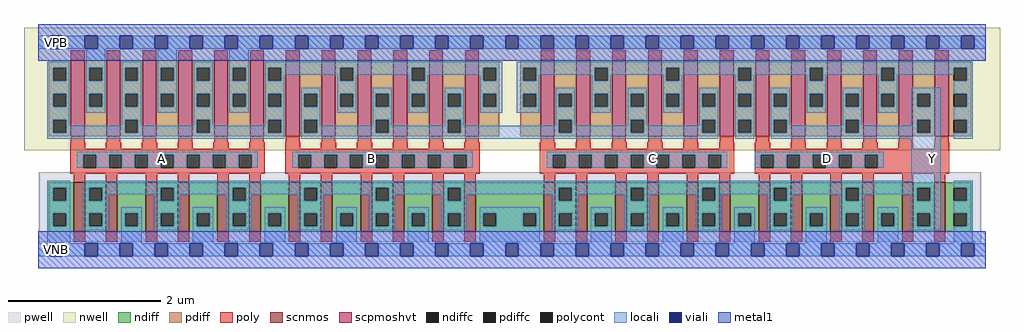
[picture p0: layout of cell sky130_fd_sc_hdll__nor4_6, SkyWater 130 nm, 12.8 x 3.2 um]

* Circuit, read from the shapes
.subckt sky130_fd_sc_hdll__nor4_6 A B C D VGND VNB VPB VPWR Y
XM1 Y A VGND VNB sky130_fd_pr__nfet_01v8 w=0.65 l=0.15 m=6
XM2 Y B VGND VNB sky130_fd_pr__nfet_01v8 w=0.65 l=0.15 m=6
XM3 Y C VGND VNB sky130_fd_pr__nfet_01v8 w=0.65 l=0.15 m=6
XM4 Y D VGND VNB sky130_fd_pr__nfet_01v8 w=0.65 l=0.15 m=6
XM5 VPWR A n1 VPB sky130_fd_pr__pfet_01v8_hvt w=1 l=0.18 m=6
XM6 n2 B n1 VPB sky130_fd_pr__pfet_01v8_hvt w=1 l=0.18 m=6
XM7 n2 C n3 VPB sky130_fd_pr__pfet_01v8_hvt w=1 l=0.18 m=6
XM8 Y D n3 VPB sky130_fd_pr__pfet_01v8_hvt w=1 l=0.18 m=6
.ends

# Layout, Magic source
magic
tech sky130A
magscale 1 2
<< nwell >>
rect -38 261 2522 582
<< pwell >>
rect 1 21 2473 203
rect 30 -17 64 21
<< scnmos >>
rect 93 47 123 177
rect 177 47 207 177
rect 281 47 311 177
rect 365 47 395 177
rect 469 47 499 177
rect 553 47 583 177
rect 657 47 687 177
rect 741 47 771 177
rect 845 47 875 177
rect 929 47 959 177
rect 1033 47 1063 177
rect 1117 47 1147 177
rect 1325 47 1355 177
rect 1409 47 1439 177
rect 1513 47 1543 177
rect 1597 47 1627 177
rect 1701 47 1731 177
rect 1785 47 1815 177
rect 1889 47 1919 177
rect 1973 47 2003 177
rect 2077 47 2107 177
rect 2161 47 2191 177
rect 2265 47 2295 177
rect 2349 47 2379 177
<< scpmoshvt >>
rect 85 297 121 497
rect 179 297 215 497
rect 273 297 309 497
rect 367 297 403 497
rect 461 297 497 497
rect 555 297 591 497
rect 649 297 685 497
rect 743 297 779 497
rect 837 297 873 497
rect 931 297 967 497
rect 1025 297 1061 497
rect 1119 297 1155 497
rect 1317 297 1353 497
rect 1411 297 1447 497
rect 1505 297 1541 497
rect 1599 297 1635 497
rect 1693 297 1729 497
rect 1787 297 1823 497
rect 1881 297 1917 497
rect 1975 297 2011 497
rect 2069 297 2105 497
rect 2163 297 2199 497
rect 2257 297 2293 497
rect 2351 297 2387 497
<< ndiff >>
rect 27 163 93 177
rect 27 129 39 163
rect 73 129 93 163
rect 27 95 93 129
rect 27 61 39 95
rect 73 61 93 95
rect 27 47 93 61
rect 123 163 177 177
rect 123 129 133 163
rect 167 129 177 163
rect 123 95 177 129
rect 123 61 133 95
rect 167 61 177 95
rect 123 47 177 61
rect 207 95 281 177
rect 207 61 227 95
rect 261 61 281 95
rect 207 47 281 61
rect 311 163 365 177
rect 311 129 321 163
rect 355 129 365 163
rect 311 95 365 129
rect 311 61 321 95
rect 355 61 365 95
rect 311 47 365 61
rect 395 95 469 177
rect 395 61 415 95
rect 449 61 469 95
rect 395 47 469 61
rect 499 163 553 177
rect 499 129 509 163
rect 543 129 553 163
rect 499 95 553 129
rect 499 61 509 95
rect 543 61 553 95
rect 499 47 553 61
rect 583 95 657 177
rect 583 61 603 95
rect 637 61 657 95
rect 583 47 657 61
rect 687 163 741 177
rect 687 129 697 163
rect 731 129 741 163
rect 687 95 741 129
rect 687 61 697 95
rect 731 61 741 95
rect 687 47 741 61
rect 771 95 845 177
rect 771 61 791 95
rect 825 61 845 95
rect 771 47 845 61
rect 875 163 929 177
rect 875 129 885 163
rect 919 129 929 163
rect 875 95 929 129
rect 875 61 885 95
rect 919 61 929 95
rect 875 47 929 61
rect 959 95 1033 177
rect 959 61 979 95
rect 1013 61 1033 95
rect 959 47 1033 61
rect 1063 163 1117 177
rect 1063 129 1073 163
rect 1107 129 1117 163
rect 1063 95 1117 129
rect 1063 61 1073 95
rect 1107 61 1117 95
rect 1063 47 1117 61
rect 1147 95 1325 177
rect 1147 61 1167 95
rect 1201 61 1271 95
rect 1305 61 1325 95
rect 1147 47 1325 61
rect 1355 163 1409 177
rect 1355 129 1365 163
rect 1399 129 1409 163
rect 1355 95 1409 129
rect 1355 61 1365 95
rect 1399 61 1409 95
rect 1355 47 1409 61
rect 1439 95 1513 177
rect 1439 61 1459 95
rect 1493 61 1513 95
rect 1439 47 1513 61
rect 1543 163 1597 177
rect 1543 129 1553 163
rect 1587 129 1597 163
rect 1543 95 1597 129
rect 1543 61 1553 95
rect 1587 61 1597 95
rect 1543 47 1597 61
rect 1627 95 1701 177
rect 1627 61 1647 95
rect 1681 61 1701 95
rect 1627 47 1701 61
rect 1731 163 1785 177
rect 1731 129 1741 163
rect 1775 129 1785 163
rect 1731 95 1785 129
rect 1731 61 1741 95
rect 1775 61 1785 95
rect 1731 47 1785 61
rect 1815 95 1889 177
rect 1815 61 1835 95
rect 1869 61 1889 95
rect 1815 47 1889 61
rect 1919 163 1973 177
rect 1919 129 1929 163
rect 1963 129 1973 163
rect 1919 95 1973 129
rect 1919 61 1929 95
rect 1963 61 1973 95
rect 1919 47 1973 61
rect 2003 95 2077 177
rect 2003 61 2023 95
rect 2057 61 2077 95
rect 2003 47 2077 61
rect 2107 163 2161 177
rect 2107 129 2117 163
rect 2151 129 2161 163
rect 2107 95 2161 129
rect 2107 61 2117 95
rect 2151 61 2161 95
rect 2107 47 2161 61
rect 2191 95 2265 177
rect 2191 61 2211 95
rect 2245 61 2265 95
rect 2191 47 2265 61
rect 2295 163 2349 177
rect 2295 129 2305 163
rect 2339 129 2349 163
rect 2295 95 2349 129
rect 2295 61 2305 95
rect 2339 61 2349 95
rect 2295 47 2349 61
rect 2379 163 2447 177
rect 2379 129 2401 163
rect 2435 129 2447 163
rect 2379 95 2447 129
rect 2379 61 2401 95
rect 2435 61 2447 95
rect 2379 47 2447 61
<< pdiff >>
rect 27 477 85 497
rect 27 443 39 477
rect 73 443 85 477
rect 27 409 85 443
rect 27 375 39 409
rect 73 375 85 409
rect 27 341 85 375
rect 27 307 39 341
rect 73 307 85 341
rect 27 297 85 307
rect 121 477 179 497
rect 121 443 133 477
rect 167 443 179 477
rect 121 409 179 443
rect 121 375 133 409
rect 167 375 179 409
rect 121 297 179 375
rect 215 477 273 497
rect 215 443 227 477
rect 261 443 273 477
rect 215 409 273 443
rect 215 375 227 409
rect 261 375 273 409
rect 215 341 273 375
rect 215 307 227 341
rect 261 307 273 341
rect 215 297 273 307
rect 309 477 367 497
rect 309 443 321 477
rect 355 443 367 477
rect 309 409 367 443
rect 309 375 321 409
rect 355 375 367 409
rect 309 297 367 375
rect 403 477 461 497
rect 403 443 415 477
rect 449 443 461 477
rect 403 409 461 443
rect 403 375 415 409
rect 449 375 461 409
rect 403 341 461 375
rect 403 307 415 341
rect 449 307 461 341
rect 403 297 461 307
rect 497 477 555 497
rect 497 443 509 477
rect 543 443 555 477
rect 497 409 555 443
rect 497 375 509 409
rect 543 375 555 409
rect 497 297 555 375
rect 591 477 649 497
rect 591 443 603 477
rect 637 443 649 477
rect 591 409 649 443
rect 591 375 603 409
rect 637 375 649 409
rect 591 341 649 375
rect 591 307 603 341
rect 637 307 649 341
rect 591 297 649 307
rect 685 409 743 497
rect 685 375 697 409
rect 731 375 743 409
rect 685 341 743 375
rect 685 307 697 341
rect 731 307 743 341
rect 685 297 743 307
rect 779 477 837 497
rect 779 443 791 477
rect 825 443 837 477
rect 779 409 837 443
rect 779 375 791 409
rect 825 375 837 409
rect 779 297 837 375
rect 873 409 931 497
rect 873 375 885 409
rect 919 375 931 409
rect 873 341 931 375
rect 873 307 885 341
rect 919 307 931 341
rect 873 297 931 307
rect 967 477 1025 497
rect 967 443 979 477
rect 1013 443 1025 477
rect 967 409 1025 443
rect 967 375 979 409
rect 1013 375 1025 409
rect 967 297 1025 375
rect 1061 409 1119 497
rect 1061 375 1073 409
rect 1107 375 1119 409
rect 1061 341 1119 375
rect 1061 307 1073 341
rect 1107 307 1119 341
rect 1061 297 1119 307
rect 1155 477 1209 497
rect 1155 443 1167 477
rect 1201 443 1209 477
rect 1155 409 1209 443
rect 1155 375 1167 409
rect 1201 375 1209 409
rect 1155 297 1209 375
rect 1263 477 1317 497
rect 1263 443 1271 477
rect 1305 443 1317 477
rect 1263 409 1317 443
rect 1263 375 1271 409
rect 1305 375 1317 409
rect 1263 297 1317 375
rect 1353 409 1411 497
rect 1353 375 1365 409
rect 1399 375 1411 409
rect 1353 341 1411 375
rect 1353 307 1365 341
rect 1399 307 1411 341
rect 1353 297 1411 307
rect 1447 477 1505 497
rect 1447 443 1459 477
rect 1493 443 1505 477
rect 1447 409 1505 443
rect 1447 375 1459 409
rect 1493 375 1505 409
rect 1447 297 1505 375
rect 1541 409 1599 497
rect 1541 375 1553 409
rect 1587 375 1599 409
rect 1541 341 1599 375
rect 1541 307 1553 341
rect 1587 307 1599 341
rect 1541 297 1599 307
rect 1635 477 1693 497
rect 1635 443 1647 477
rect 1681 443 1693 477
rect 1635 409 1693 443
rect 1635 375 1647 409
rect 1681 375 1693 409
rect 1635 297 1693 375
rect 1729 409 1787 497
rect 1729 375 1741 409
rect 1775 375 1787 409
rect 1729 341 1787 375
rect 1729 307 1741 341
rect 1775 307 1787 341
rect 1729 297 1787 307
rect 1823 477 1881 497
rect 1823 443 1835 477
rect 1869 443 1881 477
rect 1823 409 1881 443
rect 1823 375 1835 409
rect 1869 375 1881 409
rect 1823 341 1881 375
rect 1823 307 1835 341
rect 1869 307 1881 341
rect 1823 297 1881 307
rect 1917 409 1975 497
rect 1917 375 1929 409
rect 1963 375 1975 409
rect 1917 341 1975 375
rect 1917 307 1929 341
rect 1963 307 1975 341
rect 1917 297 1975 307
rect 2011 477 2069 497
rect 2011 443 2023 477
rect 2057 443 2069 477
rect 2011 409 2069 443
rect 2011 375 2023 409
rect 2057 375 2069 409
rect 2011 297 2069 375
rect 2105 409 2163 497
rect 2105 375 2117 409
rect 2151 375 2163 409
rect 2105 341 2163 375
rect 2105 307 2117 341
rect 2151 307 2163 341
rect 2105 297 2163 307
rect 2199 477 2257 497
rect 2199 443 2211 477
rect 2245 443 2257 477
rect 2199 409 2257 443
rect 2199 375 2211 409
rect 2245 375 2257 409
rect 2199 297 2257 375
rect 2293 409 2351 497
rect 2293 375 2305 409
rect 2339 375 2351 409
rect 2293 341 2351 375
rect 2293 307 2305 341
rect 2339 307 2351 341
rect 2293 297 2351 307
rect 2387 477 2447 497
rect 2387 443 2401 477
rect 2435 443 2447 477
rect 2387 409 2447 443
rect 2387 375 2401 409
rect 2435 375 2447 409
rect 2387 341 2447 375
rect 2387 307 2401 341
rect 2435 307 2447 341
rect 2387 297 2447 307
<< ndiffc >>
rect 39 129 73 163
rect 39 61 73 95
rect 133 129 167 163
rect 133 61 167 95
rect 227 61 261 95
rect 321 129 355 163
rect 321 61 355 95
rect 415 61 449 95
rect 509 129 543 163
rect 509 61 543 95
rect 603 61 637 95
rect 697 129 731 163
rect 697 61 731 95
rect 791 61 825 95
rect 885 129 919 163
rect 885 61 919 95
rect 979 61 1013 95
rect 1073 129 1107 163
rect 1073 61 1107 95
rect 1167 61 1201 95
rect 1271 61 1305 95
rect 1365 129 1399 163
rect 1365 61 1399 95
rect 1459 61 1493 95
rect 1553 129 1587 163
rect 1553 61 1587 95
rect 1647 61 1681 95
rect 1741 129 1775 163
rect 1741 61 1775 95
rect 1835 61 1869 95
rect 1929 129 1963 163
rect 1929 61 1963 95
rect 2023 61 2057 95
rect 2117 129 2151 163
rect 2117 61 2151 95
rect 2211 61 2245 95
rect 2305 129 2339 163
rect 2305 61 2339 95
rect 2401 129 2435 163
rect 2401 61 2435 95
<< pdiffc >>
rect 39 443 73 477
rect 39 375 73 409
rect 39 307 73 341
rect 133 443 167 477
rect 133 375 167 409
rect 227 443 261 477
rect 227 375 261 409
rect 227 307 261 341
rect 321 443 355 477
rect 321 375 355 409
rect 415 443 449 477
rect 415 375 449 409
rect 415 307 449 341
rect 509 443 543 477
rect 509 375 543 409
rect 603 443 637 477
rect 603 375 637 409
rect 603 307 637 341
rect 697 375 731 409
rect 697 307 731 341
rect 791 443 825 477
rect 791 375 825 409
rect 885 375 919 409
rect 885 307 919 341
rect 979 443 1013 477
rect 979 375 1013 409
rect 1073 375 1107 409
rect 1073 307 1107 341
rect 1167 443 1201 477
rect 1167 375 1201 409
rect 1271 443 1305 477
rect 1271 375 1305 409
rect 1365 375 1399 409
rect 1365 307 1399 341
rect 1459 443 1493 477
rect 1459 375 1493 409
rect 1553 375 1587 409
rect 1553 307 1587 341
rect 1647 443 1681 477
rect 1647 375 1681 409
rect 1741 375 1775 409
rect 1741 307 1775 341
rect 1835 443 1869 477
rect 1835 375 1869 409
rect 1835 307 1869 341
rect 1929 375 1963 409
rect 1929 307 1963 341
rect 2023 443 2057 477
rect 2023 375 2057 409
rect 2117 375 2151 409
rect 2117 307 2151 341
rect 2211 443 2245 477
rect 2211 375 2245 409
rect 2305 375 2339 409
rect 2305 307 2339 341
rect 2401 443 2435 477
rect 2401 375 2435 409
rect 2401 307 2435 341
<< poly >>
rect 85 497 121 523
rect 179 497 215 523
rect 273 497 309 523
rect 367 497 403 523
rect 461 497 497 523
rect 555 497 591 523
rect 649 497 685 523
rect 743 497 779 523
rect 837 497 873 523
rect 931 497 967 523
rect 1025 497 1061 523
rect 1119 497 1155 523
rect 1317 497 1353 523
rect 1411 497 1447 523
rect 1505 497 1541 523
rect 1599 497 1635 523
rect 1693 497 1729 523
rect 1787 497 1823 523
rect 1881 497 1917 523
rect 1975 497 2011 523
rect 2069 497 2105 523
rect 2163 497 2199 523
rect 2257 497 2293 523
rect 2351 497 2387 523
rect 85 282 121 297
rect 179 282 215 297
rect 273 282 309 297
rect 367 282 403 297
rect 461 282 497 297
rect 555 282 591 297
rect 649 282 685 297
rect 743 282 779 297
rect 837 282 873 297
rect 931 282 967 297
rect 1025 282 1061 297
rect 1119 282 1155 297
rect 1317 282 1353 297
rect 1411 282 1447 297
rect 1505 282 1541 297
rect 1599 282 1635 297
rect 1693 282 1729 297
rect 1787 282 1823 297
rect 1881 282 1917 297
rect 1975 282 2011 297
rect 2069 282 2105 297
rect 2163 282 2199 297
rect 2257 282 2293 297
rect 2351 282 2387 297
rect 83 265 123 282
rect 177 265 217 282
rect 271 265 311 282
rect 365 265 405 282
rect 459 265 499 282
rect 553 265 593 282
rect 83 249 593 265
rect 83 215 117 249
rect 151 215 185 249
rect 219 215 253 249
rect 287 215 321 249
rect 355 215 389 249
rect 423 215 457 249
rect 491 215 525 249
rect 559 215 593 249
rect 83 199 593 215
rect 647 265 687 282
rect 741 265 781 282
rect 835 265 875 282
rect 929 265 969 282
rect 1023 265 1063 282
rect 1117 265 1157 282
rect 647 249 1157 265
rect 647 215 681 249
rect 715 215 749 249
rect 783 215 817 249
rect 851 215 885 249
rect 919 215 953 249
rect 987 215 1021 249
rect 1055 215 1089 249
rect 1123 215 1157 249
rect 647 199 1157 215
rect 1315 265 1355 282
rect 1409 265 1449 282
rect 1503 265 1543 282
rect 1597 265 1637 282
rect 1691 265 1731 282
rect 1785 265 1825 282
rect 1315 249 1825 265
rect 1315 215 1349 249
rect 1383 215 1417 249
rect 1451 215 1485 249
rect 1519 215 1553 249
rect 1587 215 1621 249
rect 1655 215 1689 249
rect 1723 215 1757 249
rect 1791 215 1825 249
rect 1315 199 1825 215
rect 1879 265 1919 282
rect 1973 265 2013 282
rect 2067 265 2107 282
rect 2161 265 2201 282
rect 2255 265 2295 282
rect 2349 265 2389 282
rect 1879 249 2389 265
rect 1879 215 1895 249
rect 1929 215 1963 249
rect 1997 215 2031 249
rect 2065 215 2099 249
rect 2133 215 2167 249
rect 2201 215 2389 249
rect 1879 199 2389 215
rect 93 177 123 199
rect 177 177 207 199
rect 281 177 311 199
rect 365 177 395 199
rect 469 177 499 199
rect 553 177 583 199
rect 657 177 687 199
rect 741 177 771 199
rect 845 177 875 199
rect 929 177 959 199
rect 1033 177 1063 199
rect 1117 177 1147 199
rect 1325 177 1355 199
rect 1409 177 1439 199
rect 1513 177 1543 199
rect 1597 177 1627 199
rect 1701 177 1731 199
rect 1785 177 1815 199
rect 1889 177 1919 199
rect 1973 177 2003 199
rect 2077 177 2107 199
rect 2161 177 2191 199
rect 2265 177 2295 199
rect 2349 177 2379 199
rect 93 21 123 47
rect 177 21 207 47
rect 281 21 311 47
rect 365 21 395 47
rect 469 21 499 47
rect 553 21 583 47
rect 657 21 687 47
rect 741 21 771 47
rect 845 21 875 47
rect 929 21 959 47
rect 1033 21 1063 47
rect 1117 21 1147 47
rect 1325 21 1355 47
rect 1409 21 1439 47
rect 1513 21 1543 47
rect 1597 21 1627 47
rect 1701 21 1731 47
rect 1785 21 1815 47
rect 1889 21 1919 47
rect 1973 21 2003 47
rect 2077 21 2107 47
rect 2161 21 2191 47
rect 2265 21 2295 47
rect 2349 21 2379 47
<< polycont >>
rect 117 215 151 249
rect 185 215 219 249
rect 253 215 287 249
rect 321 215 355 249
rect 389 215 423 249
rect 457 215 491 249
rect 525 215 559 249
rect 681 215 715 249
rect 749 215 783 249
rect 817 215 851 249
rect 885 215 919 249
rect 953 215 987 249
rect 1021 215 1055 249
rect 1089 215 1123 249
rect 1349 215 1383 249
rect 1417 215 1451 249
rect 1485 215 1519 249
rect 1553 215 1587 249
rect 1621 215 1655 249
rect 1689 215 1723 249
rect 1757 215 1791 249
rect 1895 215 1929 249
rect 1963 215 1997 249
rect 2031 215 2065 249
rect 2099 215 2133 249
rect 2167 215 2201 249
<< locali >>
rect 0 527 29 561
rect 63 527 121 561
rect 155 527 213 561
rect 247 527 305 561
rect 339 527 397 561
rect 431 527 489 561
rect 523 527 581 561
rect 615 527 673 561
rect 707 527 765 561
rect 799 527 857 561
rect 891 527 949 561
rect 983 527 1041 561
rect 1075 527 1133 561
rect 1167 527 1225 561
rect 1259 527 1317 561
rect 1351 527 1409 561
rect 1443 527 1501 561
rect 1535 527 1593 561
rect 1627 527 1685 561
rect 1719 527 1777 561
rect 1811 527 1869 561
rect 1903 527 1961 561
rect 1995 527 2053 561
rect 2087 527 2145 561
rect 2179 527 2237 561
rect 2271 527 2329 561
rect 2363 527 2421 561
rect 2455 527 2484 561
rect 23 477 81 493
rect 23 443 39 477
rect 73 443 81 477
rect 23 409 81 443
rect 23 375 39 409
rect 73 375 81 409
rect 23 341 81 375
rect 125 477 175 527
rect 125 443 133 477
rect 167 443 175 477
rect 125 409 175 443
rect 125 375 133 409
rect 167 375 175 409
rect 125 359 175 375
rect 219 477 269 493
rect 219 443 227 477
rect 261 443 269 477
rect 219 409 269 443
rect 219 375 227 409
rect 261 375 269 409
rect 23 307 39 341
rect 73 325 81 341
rect 219 341 269 375
rect 313 477 363 527
rect 313 443 321 477
rect 355 443 363 477
rect 313 409 363 443
rect 313 375 321 409
rect 355 375 363 409
rect 313 359 363 375
rect 407 477 457 493
rect 407 443 415 477
rect 449 443 457 477
rect 407 409 457 443
rect 407 375 415 409
rect 449 375 457 409
rect 219 325 227 341
rect 73 307 227 325
rect 261 325 269 341
rect 407 341 457 375
rect 501 477 551 527
rect 501 443 509 477
rect 543 443 551 477
rect 501 409 551 443
rect 501 375 509 409
rect 543 375 551 409
rect 501 359 551 375
rect 595 477 1217 493
rect 595 443 603 477
rect 637 459 791 477
rect 637 443 645 459
rect 595 409 645 443
rect 783 443 791 459
rect 825 459 979 477
rect 825 443 833 459
rect 595 375 603 409
rect 637 375 645 409
rect 407 325 415 341
rect 261 307 415 325
rect 449 325 457 341
rect 595 341 645 375
rect 595 325 603 341
rect 449 307 603 325
rect 637 307 645 341
rect 23 291 645 307
rect 689 409 739 425
rect 689 375 697 409
rect 731 375 739 409
rect 689 341 739 375
rect 783 409 833 443
rect 971 443 979 459
rect 1013 459 1167 477
rect 1013 443 1021 459
rect 783 375 791 409
rect 825 375 833 409
rect 783 359 833 375
rect 877 409 927 425
rect 877 375 885 409
rect 919 375 927 409
rect 689 307 697 341
rect 731 325 739 341
rect 877 341 927 375
rect 971 409 1021 443
rect 1159 443 1167 459
rect 1201 443 1217 477
rect 971 375 979 409
rect 1013 375 1021 409
rect 971 359 1021 375
rect 1065 409 1115 425
rect 1065 375 1073 409
rect 1107 375 1115 409
rect 877 325 885 341
rect 731 307 885 325
rect 919 325 927 341
rect 1065 341 1115 375
rect 1159 409 1217 443
rect 1159 375 1167 409
rect 1201 375 1217 409
rect 1159 359 1217 375
rect 1255 477 2451 493
rect 1255 443 1271 477
rect 1305 459 1459 477
rect 1305 443 1313 459
rect 1255 409 1313 443
rect 1451 443 1459 459
rect 1493 459 1647 477
rect 1493 443 1501 459
rect 1255 375 1271 409
rect 1305 375 1313 409
rect 1255 359 1313 375
rect 1357 409 1407 425
rect 1357 375 1365 409
rect 1399 375 1407 409
rect 1065 325 1073 341
rect 919 307 1073 325
rect 1107 325 1115 341
rect 1357 341 1407 375
rect 1451 409 1501 443
rect 1639 443 1647 459
rect 1681 459 1835 477
rect 1681 443 1689 459
rect 1451 375 1459 409
rect 1493 375 1501 409
rect 1451 359 1501 375
rect 1545 409 1595 425
rect 1545 375 1553 409
rect 1587 375 1595 409
rect 1357 325 1365 341
rect 1107 307 1365 325
rect 1399 325 1407 341
rect 1545 341 1595 375
rect 1639 409 1689 443
rect 1827 443 1835 459
rect 1869 459 2023 477
rect 1869 443 1877 459
rect 1639 375 1647 409
rect 1681 375 1689 409
rect 1639 359 1689 375
rect 1733 409 1783 425
rect 1733 375 1741 409
rect 1775 375 1783 409
rect 1545 325 1553 341
rect 1399 307 1553 325
rect 1587 325 1595 341
rect 1733 341 1783 375
rect 1733 325 1741 341
rect 1587 307 1741 325
rect 1775 307 1783 341
rect 689 291 1783 307
rect 1827 409 1877 443
rect 2015 443 2023 459
rect 2057 459 2211 477
rect 2057 443 2065 459
rect 1827 375 1835 409
rect 1869 375 1877 409
rect 1827 341 1877 375
rect 1827 307 1835 341
rect 1869 307 1877 341
rect 1827 291 1877 307
rect 1921 409 1971 425
rect 1921 375 1929 409
rect 1963 375 1971 409
rect 1921 341 1971 375
rect 2015 409 2065 443
rect 2203 443 2211 459
rect 2245 459 2401 477
rect 2245 443 2253 459
rect 2015 375 2023 409
rect 2057 375 2065 409
rect 2015 359 2065 375
rect 2109 409 2159 425
rect 2109 375 2117 409
rect 2151 375 2159 409
rect 1921 307 1929 341
rect 1963 325 1971 341
rect 2109 341 2159 375
rect 2203 409 2253 443
rect 2435 443 2451 477
rect 2203 375 2211 409
rect 2245 375 2253 409
rect 2203 359 2253 375
rect 2289 409 2367 425
rect 2289 375 2305 409
rect 2339 375 2367 409
rect 2109 325 2117 341
rect 1963 307 2117 325
rect 2151 325 2159 341
rect 2289 341 2367 375
rect 2289 325 2305 341
rect 2151 307 2305 325
rect 2339 307 2367 341
rect 1921 291 2367 307
rect 2401 409 2451 443
rect 2435 375 2451 409
rect 2401 341 2451 375
rect 2435 307 2451 341
rect 2401 291 2451 307
rect 101 249 575 257
rect 101 215 117 249
rect 151 215 185 249
rect 219 215 253 249
rect 287 215 321 249
rect 355 215 389 249
rect 423 215 457 249
rect 491 215 525 249
rect 559 215 575 249
rect 665 249 1139 257
rect 665 215 681 249
rect 715 215 749 249
rect 783 215 817 249
rect 851 215 885 249
rect 919 215 953 249
rect 987 215 1021 249
rect 1055 215 1089 249
rect 1123 215 1139 249
rect 1333 249 1807 257
rect 1333 215 1349 249
rect 1383 215 1417 249
rect 1451 215 1485 249
rect 1519 215 1553 249
rect 1587 215 1621 249
rect 1655 215 1689 249
rect 1723 215 1757 249
rect 1791 215 1807 249
rect 1879 249 2217 257
rect 1879 215 1895 249
rect 1929 215 1963 249
rect 1997 215 2031 249
rect 2065 215 2099 249
rect 2133 215 2167 249
rect 2201 215 2217 249
rect 2289 181 2367 291
rect 23 163 83 181
rect 23 129 39 163
rect 73 129 83 163
rect 23 95 83 129
rect 23 61 39 95
rect 73 61 83 95
rect 23 17 83 61
rect 117 163 2367 181
rect 117 129 133 163
rect 167 145 321 163
rect 167 129 183 145
rect 117 95 183 129
rect 305 129 321 145
rect 355 145 509 163
rect 355 129 371 145
rect 117 61 133 95
rect 167 61 183 95
rect 117 51 183 61
rect 217 95 271 111
rect 217 61 227 95
rect 261 61 271 95
rect 217 17 271 61
rect 305 95 371 129
rect 493 129 509 145
rect 543 145 697 163
rect 543 129 559 145
rect 305 61 321 95
rect 355 61 371 95
rect 305 51 371 61
rect 405 95 459 111
rect 405 61 415 95
rect 449 61 459 95
rect 405 17 459 61
rect 493 95 559 129
rect 681 129 697 145
rect 731 145 885 163
rect 731 129 747 145
rect 493 61 509 95
rect 543 61 559 95
rect 493 51 559 61
rect 593 95 647 111
rect 593 61 603 95
rect 637 61 647 95
rect 593 17 647 61
rect 681 95 747 129
rect 869 129 885 145
rect 919 145 1073 163
rect 919 129 935 145
rect 681 61 697 95
rect 731 61 747 95
rect 681 51 747 61
rect 781 95 835 111
rect 781 61 791 95
rect 825 61 835 95
rect 781 17 835 61
rect 869 95 935 129
rect 1057 129 1073 145
rect 1107 145 1365 163
rect 1107 129 1123 145
rect 869 61 885 95
rect 919 61 935 95
rect 869 51 935 61
rect 969 95 1023 111
rect 969 61 979 95
rect 1013 61 1023 95
rect 969 17 1023 61
rect 1057 95 1123 129
rect 1349 129 1365 145
rect 1399 145 1553 163
rect 1399 129 1415 145
rect 1057 61 1073 95
rect 1107 61 1123 95
rect 1057 51 1123 61
rect 1157 95 1315 111
rect 1157 61 1167 95
rect 1201 61 1271 95
rect 1305 61 1315 95
rect 1157 17 1315 61
rect 1349 95 1415 129
rect 1537 129 1553 145
rect 1587 145 1741 163
rect 1587 129 1603 145
rect 1349 61 1365 95
rect 1399 61 1415 95
rect 1349 51 1415 61
rect 1449 95 1503 111
rect 1449 61 1459 95
rect 1493 61 1503 95
rect 1449 17 1503 61
rect 1537 95 1603 129
rect 1725 129 1741 145
rect 1775 145 1929 163
rect 1775 129 1791 145
rect 1537 61 1553 95
rect 1587 61 1603 95
rect 1537 51 1603 61
rect 1637 95 1691 111
rect 1637 61 1647 95
rect 1681 61 1691 95
rect 1637 17 1691 61
rect 1725 95 1791 129
rect 1913 129 1929 145
rect 1963 145 2117 163
rect 1963 129 1979 145
rect 1725 61 1741 95
rect 1775 61 1791 95
rect 1725 51 1791 61
rect 1825 95 1879 111
rect 1825 61 1835 95
rect 1869 61 1879 95
rect 1825 17 1879 61
rect 1913 95 1979 129
rect 2101 129 2117 145
rect 2151 145 2305 163
rect 2151 129 2167 145
rect 1913 61 1929 95
rect 1963 61 1979 95
rect 1913 51 1979 61
rect 2013 95 2067 111
rect 2013 61 2023 95
rect 2057 61 2067 95
rect 2013 17 2067 61
rect 2101 95 2167 129
rect 2289 129 2305 145
rect 2339 129 2367 163
rect 2101 61 2117 95
rect 2151 61 2167 95
rect 2101 51 2167 61
rect 2201 95 2255 111
rect 2201 61 2211 95
rect 2245 61 2255 95
rect 2201 17 2255 61
rect 2289 95 2367 129
rect 2289 61 2305 95
rect 2339 61 2367 95
rect 2289 51 2367 61
rect 2401 163 2451 181
rect 2435 129 2451 163
rect 2401 95 2451 129
rect 2435 61 2451 95
rect 2401 17 2451 61
rect 0 -17 29 17
rect 63 -17 121 17
rect 155 -17 213 17
rect 247 -17 305 17
rect 339 -17 397 17
rect 431 -17 489 17
rect 523 -17 581 17
rect 615 -17 673 17
rect 707 -17 765 17
rect 799 -17 857 17
rect 891 -17 949 17
rect 983 -17 1041 17
rect 1075 -17 1133 17
rect 1167 -17 1225 17
rect 1259 -17 1317 17
rect 1351 -17 1409 17
rect 1443 -17 1501 17
rect 1535 -17 1593 17
rect 1627 -17 1685 17
rect 1719 -17 1777 17
rect 1811 -17 1869 17
rect 1903 -17 1961 17
rect 1995 -17 2053 17
rect 2087 -17 2145 17
rect 2179 -17 2237 17
rect 2271 -17 2329 17
rect 2363 -17 2421 17
rect 2455 -17 2484 17
<< viali >>
rect 29 527 63 561
rect 121 527 155 561
rect 213 527 247 561
rect 305 527 339 561
rect 397 527 431 561
rect 489 527 523 561
rect 581 527 615 561
rect 673 527 707 561
rect 765 527 799 561
rect 857 527 891 561
rect 949 527 983 561
rect 1041 527 1075 561
rect 1133 527 1167 561
rect 1225 527 1259 561
rect 1317 527 1351 561
rect 1409 527 1443 561
rect 1501 527 1535 561
rect 1593 527 1627 561
rect 1685 527 1719 561
rect 1777 527 1811 561
rect 1869 527 1903 561
rect 1961 527 1995 561
rect 2053 527 2087 561
rect 2145 527 2179 561
rect 2237 527 2271 561
rect 2329 527 2363 561
rect 2421 527 2455 561
rect 29 -17 63 17
rect 121 -17 155 17
rect 213 -17 247 17
rect 305 -17 339 17
rect 397 -17 431 17
rect 489 -17 523 17
rect 581 -17 615 17
rect 673 -17 707 17
rect 765 -17 799 17
rect 857 -17 891 17
rect 949 -17 983 17
rect 1041 -17 1075 17
rect 1133 -17 1167 17
rect 1225 -17 1259 17
rect 1317 -17 1351 17
rect 1409 -17 1443 17
rect 1501 -17 1535 17
rect 1593 -17 1627 17
rect 1685 -17 1719 17
rect 1777 -17 1811 17
rect 1869 -17 1903 17
rect 1961 -17 1995 17
rect 2053 -17 2087 17
rect 2145 -17 2179 17
rect 2237 -17 2271 17
rect 2329 -17 2363 17
rect 2421 -17 2455 17
<< metal1 >>
rect 0 561 2484 592
rect 0 527 29 561
rect 63 527 121 561
rect 155 527 213 561
rect 247 527 305 561
rect 339 527 397 561
rect 431 527 489 561
rect 523 527 581 561
rect 615 527 673 561
rect 707 527 765 561
rect 799 527 857 561
rect 891 527 949 561
rect 983 527 1041 561
rect 1075 527 1133 561
rect 1167 527 1225 561
rect 1259 527 1317 561
rect 1351 527 1409 561
rect 1443 527 1501 561
rect 1535 527 1593 561
rect 1627 527 1685 561
rect 1719 527 1777 561
rect 1811 527 1869 561
rect 1903 527 1961 561
rect 1995 527 2053 561
rect 2087 527 2145 561
rect 2179 527 2237 561
rect 2271 527 2329 561
rect 2363 527 2421 561
rect 2455 527 2484 561
rect 0 496 2484 527
rect 0 17 2484 48
rect 0 -17 29 17
rect 63 -17 121 17
rect 155 -17 213 17
rect 247 -17 305 17
rect 339 -17 397 17
rect 431 -17 489 17
rect 523 -17 581 17
rect 615 -17 673 17
rect 707 -17 765 17
rect 799 -17 857 17
rect 891 -17 949 17
rect 983 -17 1041 17
rect 1075 -17 1133 17
rect 1167 -17 1225 17
rect 1259 -17 1317 17
rect 1351 -17 1409 17
rect 1443 -17 1501 17
rect 1535 -17 1593 17
rect 1627 -17 1685 17
rect 1719 -17 1777 17
rect 1811 -17 1869 17
rect 1903 -17 1961 17
rect 1995 -17 2053 17
rect 2087 -17 2145 17
rect 2179 -17 2237 17
rect 2271 -17 2329 17
rect 2363 -17 2421 17
rect 2455 -17 2484 17
rect 0 -48 2484 -17
<< labels >>
flabel locali s 305 221 339 255 0 FreeSans 200 0 0 0 A
port 1 nsew signal input
flabel locali s 1593 221 1627 255 0 FreeSans 200 0 0 0 C
port 3 nsew signal input
flabel locali s 2053 221 2087 255 0 FreeSans 200 0 0 0 D
port 4 nsew signal input
flabel locali s 857 221 891 255 0 FreeSans 200 0 0 0 B
port 2 nsew signal input
flabel locali s 2329 221 2363 255 0 FreeSans 200 0 0 0 Y
port 9 nsew signal output
flabel nwell s 30 527 64 561 0 FreeSans 200 0 0 0 VPB
port 7 nsew power bidirectional
flabel pwell s 30 -17 64 17 0 FreeSans 200 0 0 0 VNB
port 6 nsew ground bidirectional
flabel metal1 s 30 -17 64 17 0 FreeSans 200 0 0 0 VGND
port 5 nsew ground bidirectional
flabel metal1 s 30 527 64 561 0 FreeSans 200 0 0 0 VPWR
port 8 nsew power bidirectional
rlabel comment s 0 0 0 0 4 nor4_6
<< properties >>
string LEFsite unithd
string LEFclass CORE
string FIXED_BBOX 0 0 2484 544
string GDS_FILE $PDKPATH/libs.ref/sky130_fd_sc_hdll/gds/sky130_fd_sc_hdll.gds
string LEFsymmetry X Y R90
string GDS_END 3534764
string GDS_START 3516810
string LEFproperties maskLayoutSubType "abstract" prCellType "standard" originalViewName "layout"
<< end >>
